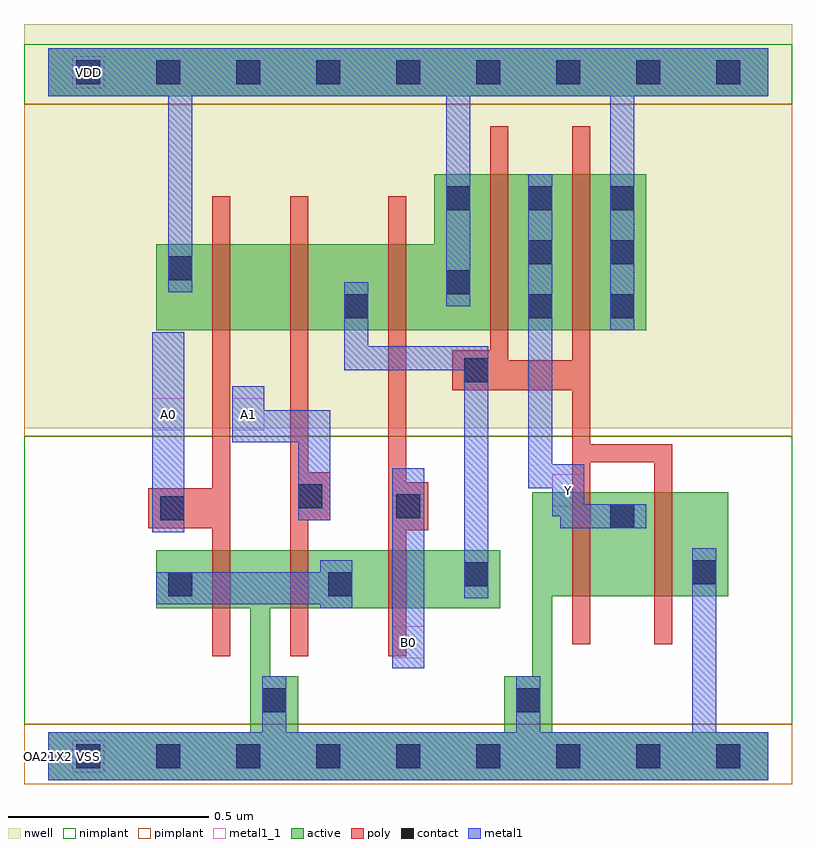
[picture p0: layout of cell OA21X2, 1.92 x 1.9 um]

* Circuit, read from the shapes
.subckt OA21X2 A0 A1 B0 VDD VSS Y
M1 VSS A0 n1 VSS nfet w=0.145u l=0.045u
M2 n1 A1 VSS VSS nfet w=0.145u l=0.045u
M3 n2 B0 n1 VSS nfet w=0.145u l=0.045u
M4 Y n2 VSS VSS nfet w=0.26u l=0.045u m=2
M5 n3 A0 VDD VDD pfet w=0.215u l=0.045u
M6 n2 A1 n3 VDD pfet w=0.215u l=0.045u
M7 VDD B0 n2 VDD pfet w=0.215u l=0.045u
M8 Y n2 VDD VDD pfet w=0.39u l=0.045u m=2
.ends

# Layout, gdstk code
import gdstk
lib = gdstk.Library(unit=1e-6, precision=5e-10)
def R(c, l, rs):  # rectangles x0, y0, x1, y1
    for r in rs: c.add(gdstk.rectangle(r[:2], r[2:], *l))
def A(c, l, x, y, w, h, nx, ny, dx, dy):  # array of equal rectangles
    R(c, l, [(x+i*dx, y+j*dy, x+i*dx+w, y+j*dy+h) for i in range(nx) for j in range(ny)])
def P(c, l, *ps):  # polygons
    for p in ps: c.add(gdstk.Polygon(p, *l))
active = (1, 0)
nwell = (2, 0)
poly = (3, 0)
nimplant = (4, 0)
pimplant = (5, 0)
contact = (6, 0)
metal1 = (7, 0)
metal1_1 = (7, 1)

oa21x2 = lib.new_cell('OA21X2')
R(oa21x2, active, [(0,1.65,1.8,1.77)])
P(oa21x2, active, [(0.965,1.455),(1.495,1.455),(1.495,1.065),(0.27,1.065),(0.27,1.28),(0.965,1.28)],
  [(0.27,0.515),(1.13,0.515),(1.13,0.37),(0.555,0.37),(0.555,0.2),(0.625,0.2),(0.625,0.06),(1.14,0.06),(1.14,0.2),(1.21,0.2),(1.21,0.66),(1.7,0.66),(1.7,0.4),(1.26,0.4),(1.26,0.06),(1.8,0.06),(1.8,-0.06),(0,-0.06),(0,0.06),(0.505,0.06),(0.505,0.37),(0.27,0.37)])
R(oa21x2, nwell, [(-0.06,0.82,1.86,1.83)])
P(oa21x2, poly, [(1.105,1.575),(1.15,1.575),(1.15,0.99),(1.31,0.99),(1.31,1.575),(1.355,1.575),(1.355,0.78),(1.56,0.78),(1.56,0.28),(1.515,0.28),(1.515,0.735),(1.355,0.735),(1.355,0.28),(1.31,0.28),(1.31,0.915),(1.01,0.915),(1.01,1.015),(1.105,1.015)],
  [(0.41,1.4),(0.455,1.4),(0.455,0.25),(0.41,0.25),(0.41,0.57),(0.25,0.57),(0.25,0.67),(0.41,0.67)],
  [(0.605,1.4),(0.65,1.4),(0.65,0.71),(0.705,0.71),(0.705,0.59),(0.65,0.59),(0.65,0.25),(0.605,0.25)],
  [(0.85,1.4),(0.895,1.4),(0.895,0.685),(0.95,0.685),(0.95,0.565),(0.895,0.565),(0.895,0.25),(0.85,0.25)])
R(oa21x2, nimplant, [(-0.06,0.08,1.86,0.8), (-0.06,1.63,1.86,1.78)])
R(oa21x2, pimplant, [(-0.06,-0.07,1.86,0.08), (-0.06,0.8,1.86,1.63)])
A(oa21x2, contact, 0.07, -0.03, 0.06, 0.06, 9, 2, 0.2, 1.71)
A(oa21x2, contact, 0.995, 1.365, 0.06, 0.06, 3, 1, 0.205, 0)
R(oa21x2, contact, [(0.535,0.11,0.595,0.17), (1.17,0.11,1.23,0.17), (0.3,0.4,0.36,0.46), (0.7,0.4,0.76,0.46), (1.04,0.425,1.1,0.485), (1.61,0.43,1.67,0.49), (1.405,0.57,1.465,0.63), (0.28,0.59,0.34,0.65), (0.87,0.595,0.93,0.655), (0.625,0.62,0.685,0.68), (1.04,0.935,1.1,0.995), (0.74,1.095,0.8,1.155), (1.2,1.095,1.26,1.155), (1.405,1.095,1.465,1.155), (0.995,1.155,1.055,1.215), (0.3,1.19,0.36,1.25), (1.2,1.23,1.26,1.29), (1.405,1.23,1.465,1.29)])
R(oa21x2, metal1, [(0.86,0.22,0.94,0.72), (0.26,0.56,0.34,1.06)])
P(oa21x2, metal1, [(0,1.77),(1.8,1.77),(1.8,1.65),(1.465,1.65),(1.465,1.065),(1.405,1.065),(1.405,1.65),(1.055,1.65),(1.055,1.125),(0.995,1.125),(0.995,1.65),(0.36,1.65),(0.36,1.16),(0.3,1.16),(0.3,1.65),(0,1.65)],
  [(0.74,1.185),(0.8,1.185),(0.8,1.025),(1.1,1.025),(1.1,0.395),(1.04,0.395),(1.04,0.965),(0.74,0.965)],
  [(1.2,1.455),(1.26,1.455),(1.26,0.73),(1.34,0.73),(1.34,0.63),(1.495,0.63),(1.495,0.57),(1.28,0.57),(1.28,0.6),(1.26,0.6),(1.26,0.67),(1.2,0.67)],
  [(0.46,0.925),(0.54,0.925),(0.54,0.865),(0.705,0.865),(0.705,0.59),(0.625,0.59),(0.625,0.785),(0.46,0.785)],
  [(0.68,0.49),(0.76,0.49),(0.76,0.37),(0.68,0.37),(0.68,0.38),(0.27,0.38),(0.27,0.46),(0.68,0.46)],
  [(0.535,0.2),(0.595,0.2),(0.595,0.06),(1.17,0.06),(1.17,0.2),(1.23,0.2),(1.23,0.06),(1.61,0.06),(1.61,0.52),(1.67,0.52),(1.67,0.06),(1.8,0.06),(1.8,-0.06),(0,-0.06),(0,0.06),(0.535,0.06)])
R(oa21x2, metal1_1, [(0.06,-0.04,0.14,0.04), (0.86,0.245,0.94,0.325), (1.26,0.625,1.34,0.705), (0.26,0.815,0.34,0.895), (0.46,0.815,0.54,0.895), (0.06,1.67,0.14,1.75)])
oa21x2.add(gdstk.Label('Y', (1.3,0.665), layer=7, texttype=1))
oa21x2.add(gdstk.Label('A0', (0.3,0.855), layer=7, texttype=1))
oa21x2.add(gdstk.Label('A1', (0.5,0.855), layer=7, texttype=1))
oa21x2.add(gdstk.Label('B0', (0.9,0.285), layer=7, texttype=1))
oa21x2.add(gdstk.Label('VDD', (0.1,1.71), layer=7, texttype=1))
oa21x2.add(gdstk.Label('VSS', (0.1,0), layer=7, texttype=1))
oa21x2.add(gdstk.Label('OA21X2', (0,0), layer=63, texttype=0))

lib.write_gds('OA21X2.gds')
